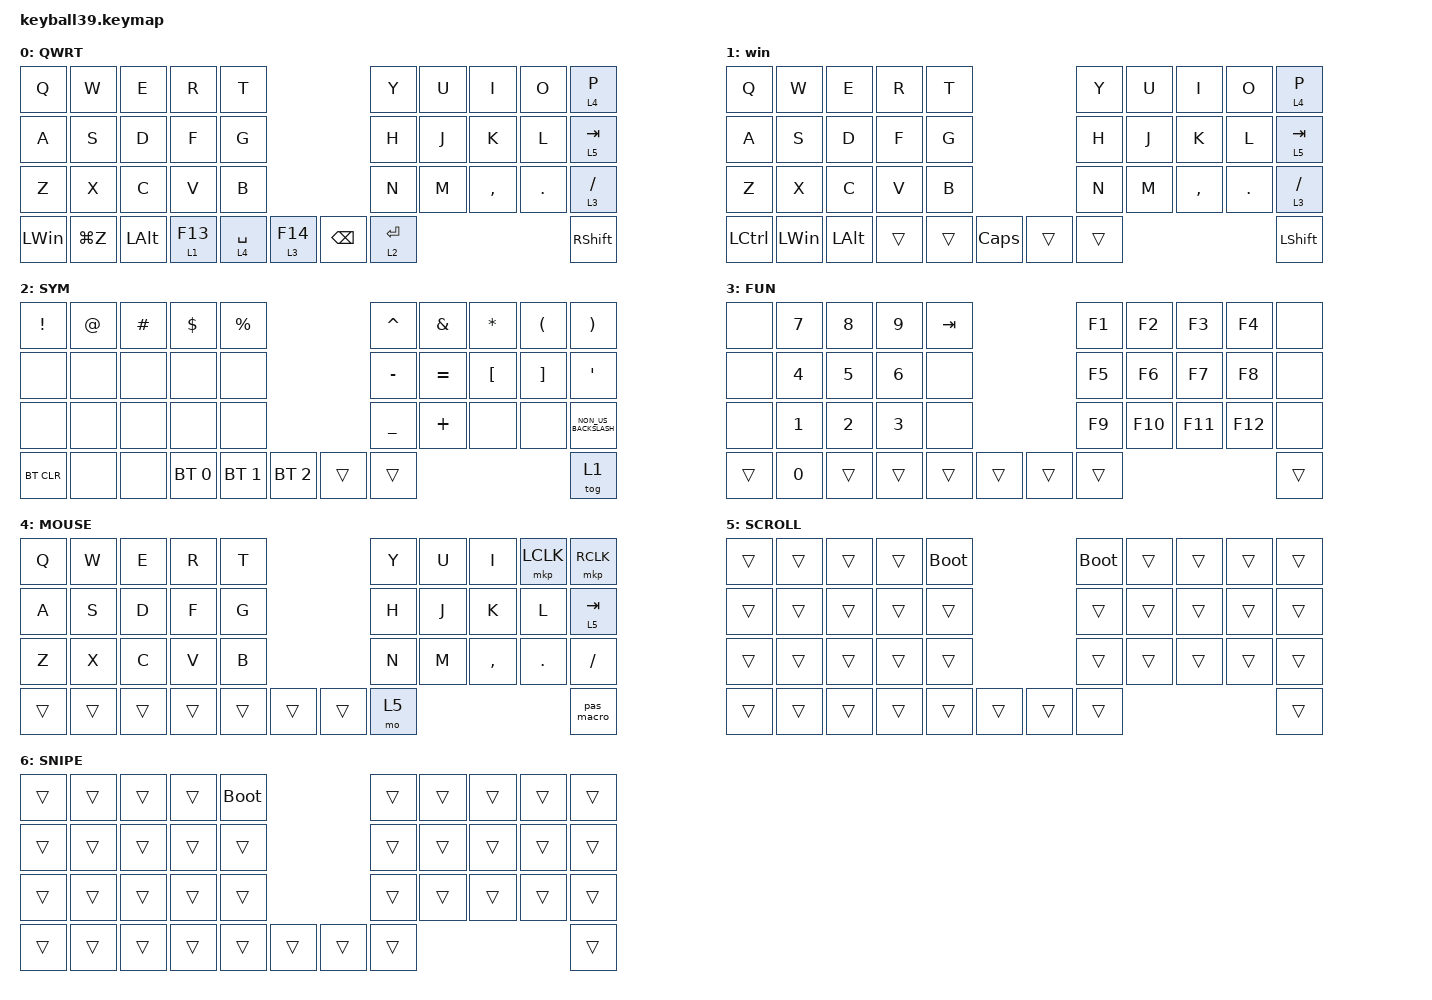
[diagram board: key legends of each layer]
#define DEFAULT 0
#define NUM     1
#define SYM     2
#define FUN     3
#define MOUSE   4
#define SCROLL  5
#define SNIPE   6

#include <behaviors/mouse_keys.dtsi>
#include <dt-bindings/zmk/mouse.h>
#include <dt-bindings/zmk/mouse.h>
#include <behaviors.dtsi>
#include <dt-bindings/zmk/bt.h>
#include <dt-bindings/zmk/keys.h>
#include <dt-bindings/zmk/mouse.h>

&lt {
    tapping-term-ms = <240>;
    flavor = "balanced";
    quick-tap-ms = <150>;
};

&mt {
    tapping-term-ms = <200>;
    flavor = "tap-preferred";
    quick-tap-ms = <150>;
};

&caps_word { continue-list = <UNDERSCORE MINUS>; };

/ {
    // custom shift using mod-morph 

    behaviors {
        cmqus: comma_question {
            compatible = "zmk,behavior-mod-morph";
            label = "COMMA_QUESTION";
            #binding-cells = <0>;
            bindings = <&kp COMMA>, <&kp QUESTION>;

            mods = <(MOD_LSFT|MOD_RSFT)>;
        };

        dtsmi: dot_semi {
            compatible = "zmk,behavior-mod-morph";
            label = "DOT_SEMI";
            #binding-cells = <0>;
            bindings = <&kp DOT>, <&kp SEMI>;

            mods = <(MOD_LSFT|MOD_RSFT)>;
        };
    };

    macros {
        Hiragana: Hiragana {
            compatible = "zmk,behavior-macro";
            #binding-cells = <0>;
            bindings = <&kp LC(SPACE)>;
            label = "HIRAGANA";
        };

        pas_macro: pas_macro {
            compatible = "zmk,behavior-macro";
            #binding-cells = <0>;
            bindings = <&kp N0 &kp N2 &kp N1 &kp N1 &kp N7 &kp N5 &kp N9 &kp N0 &kp ENTER>;
            label = "PAS_MACRO";
        };

        jimno_macro: jimno_macro {
            compatible = "zmk,behavior-macro";
            #binding-cells = <0>;
            bindings = <&kp N0 &kp N4 &kp N4 &kp N1 &kp N2 &kp N3 &kp N7 &kp N1>;
            label = "JIMNO_MACRO";
        };

        jimpas_macro: jimpas_macro {
            compatible = "zmk,behavior-macro";
            #binding-cells = <0>;
            bindings = <&kp N1 &kp N2 &kp Q &kp W &kp LS(A) &kp LS(S) &kp LS(Z) &kp LS(X)>;
            label = "JIMPAS_MACRO";
        };

        Apple_macro: Apple_macro {
            compatible = "zmk,behavior-macro";
            #binding-cells = <0>;
            bindings = <&kp LS(A) &kp P &kp P &kp L &kp E &kp N0 &kp N2 &kp N1 &kp N1>;
            label = "APPLE_MACRO";
        };
    };

    combos {
        compatible = "zmk,combos";

        shift {
            bindings = <&kp LEFT_SHIFT>;
            key-positions = <30 31>;
        };
    };

    keymap {
        compatible = "zmk,keymap";

        default_layer {
            label = "QWRT";
            bindings = <
&kp Q         &kp W      &kp E     &kp R      &kp T                                  &kp Y        &kp U  &kp I      &kp O    &lt 4 P
&kp A         &kp S      &kp D     &kp F      &kp G                                  &kp H        &kp J  &kp K      &kp L    &lt 5 TAB
&kp Z         &kp X      &kp C     &kp V      &kp B                                  &kp N        &kp M  &kp COMMA  &kp DOT  &lt 3 SLASH
&kp LEFT_WIN  &kp LG(Z)  &kp LALT  &lt 1 F13  &lt 4 SPACE  &lt 3 F14  &kp BACKSPACE  &lt 2 ENTER                             &kp RSHFT
            >;
        };

        windows_layer {
            label = "win";
            bindings = <
&kp Q             &kp W         &kp E         &kp R   &kp T                         &kp Y   &kp U  &kp I      &kp O    &lt 4 P
&kp A             &kp S         &kp D         &kp F   &kp G                         &kp H   &kp J  &kp K      &kp L    &lt 5 TAB
&kp Z             &kp X         &kp C         &kp V   &kp B                         &kp N   &kp M  &kp COMMA  &kp DOT  &lt 3 SLASH
&kp LEFT_CONTROL  &kp LEFT_WIN  &kp LEFT_ALT  &trans  &trans  &kp CAPSLOCK  &trans  &trans                             &kp LEFT_SHIFT
            >;
        };

        symbol_layer {
            label = "SYM";
            bindings = <
&kp EXCLAMATION  &kp AT_SIGN  &kp HASH  &kp DOLLAR    &kp PERCENT                         &kp CARET       &kp AMPERSAND  &kp ASTERISK      &kp LEFT_PARENTHESIS  &kp RIGHT_PARENTHESIS
&none            &none        &none     &none         &none                               &kp MINUS       &kp EQUAL      &kp LEFT_BRACKET  &kp RIGHT_BRACKET     &kp SQT
&none            &none        &none     &none         &none                               &kp UNDERSCORE  &kp PLUS       &none             &none                 &kp NON_US_BACKSLASH
&bt BT_CLR       &none        &none     &bt BT_SEL 0  &bt BT_SEL 1  &bt BT_SEL 2  &trans  &trans                                                                 &tog 1
            >;
        };

        function_layer {
            label = "FUN";
            bindings = <
&none   &kp N7  &kp N8  &kp N9  &kp TAB                  &kp F1  &kp F2   &kp F3   &kp F4   &none
&none   &kp N4  &kp N5  &kp N6  &none                    &kp F5  &kp F6   &kp F7   &kp F8   &none
&none   &kp N1  &kp N2  &kp N3  &none                    &kp F9  &kp F10  &kp F11  &kp F12  &none
&trans  &kp N0  &trans  &trans  &trans   &trans  &trans  &trans                             &trans
            >;
        };

        mouse_layer {
            label = "MOUSE";
            bindings = <
&kp Q   &kp W   &kp E   &kp R   &kp T                   &kp Y  &kp U  &kp I      &mkp LCLK  &mkp RCLK
&kp A   &kp S   &kp D   &kp F   &kp G                   &kp H  &kp J  &kp K      &kp L      &lt 5 TAB
&kp Z   &kp X   &kp C   &kp V   &kp B                   &kp N  &kp M  &kp COMMA  &kp DOT    &kp FSLH
&trans  &trans  &trans  &trans  &trans  &trans  &trans  &mo 5                               &pas_macro
            >;
        };

        scroll_layer {
            label = "SCROLL";
            bindings = <
&trans  &trans  &trans  &trans  &bootloader                  &bootloader  &trans  &trans  &trans  &trans
&trans  &trans  &trans  &trans  &trans                       &trans       &trans  &trans  &trans  &trans
&trans  &trans  &trans  &trans  &trans                       &trans       &trans  &trans  &trans  &trans
&trans  &trans  &trans  &trans  &trans       &trans  &trans  &trans                               &trans
            >;
        };

        snipe_layer {
            label = "SNIPE";
            bindings = <
&trans  &trans  &trans  &trans  &bootloader                  &trans  &trans  &trans  &trans  &trans
&trans  &trans  &trans  &trans  &trans                       &trans  &trans  &trans  &trans  &trans
&trans  &trans  &trans  &trans  &trans                       &trans  &trans  &trans  &trans  &trans
&trans  &trans  &trans  &trans  &trans       &trans  &trans  &trans                          &trans
            >;
        };
    };
};
